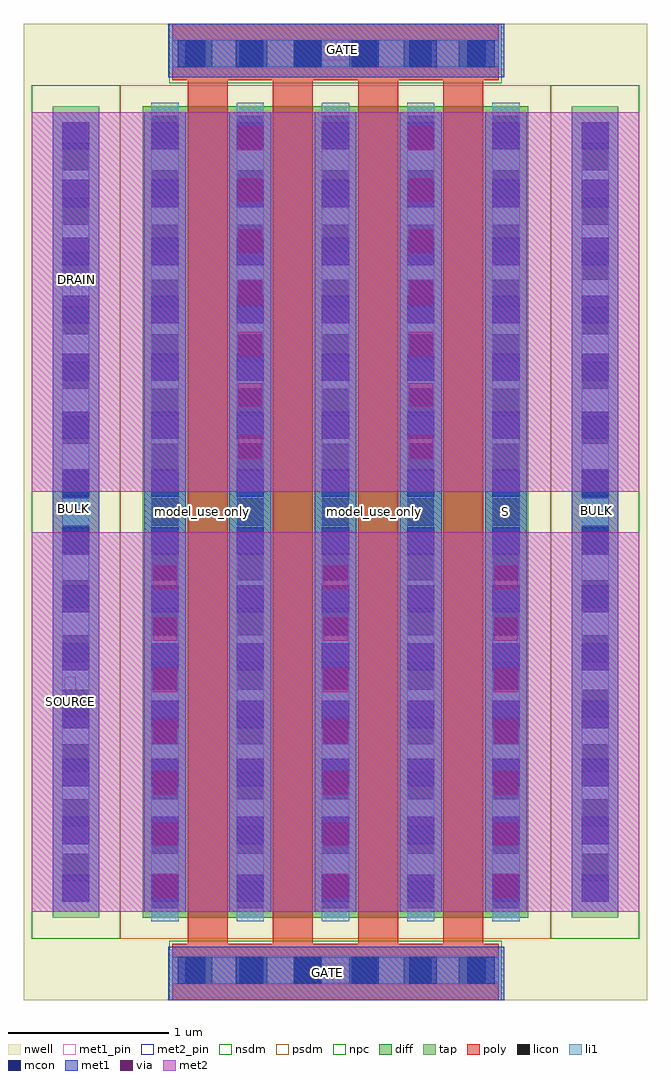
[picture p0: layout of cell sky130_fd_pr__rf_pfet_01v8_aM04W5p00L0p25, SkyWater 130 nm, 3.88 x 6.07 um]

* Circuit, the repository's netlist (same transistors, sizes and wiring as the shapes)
* Copyright 2020 The SkyWater PDK Authors
*
* Licensed under the Apache License, Version 2.0 (the "License");
* you may not use this file except in compliance with the License.
* You may obtain a copy of the License at
*
*     https://www.apache.org/licenses/LICENSE-2.0
*
* Unless required by applicable law or agreed to in writing, software
* distributed under the License is distributed on an "AS IS" BASIS,
* WITHOUT WARRANTIES OR CONDITIONS OF ANY KIND, either express or implied.
* See the License for the specific language governing permissions and
* limitations under the License.
*
* SPDX-License-Identifier: Apache-2.0


.subckt sky130_fd_pr__rf_pfet_01v8_aM04W5p00L0p25 BULK DRAIN GATE SOURCE
X0 SOURCE GATE DRAIN BULK sky130_fd_pr__pfet_01v8 w=5.05e+06u l=250000u
X1 SOURCE GATE DRAIN BULK sky130_fd_pr__pfet_01v8 w=5.05e+06u l=250000u
X2 DRAIN GATE SOURCE BULK sky130_fd_pr__pfet_01v8 w=5.05e+06u l=250000u
X3 DRAIN GATE SOURCE BULK sky130_fd_pr__pfet_01v8 w=5.05e+06u l=250000u
.ends

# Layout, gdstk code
import gdstk
lib = gdstk.Library(unit=1e-6, precision=1e-09)
def R(c, l, rs):  # rectangles x0, y0, x1, y1
    for r in rs: c.add(gdstk.rectangle(r[:2], r[2:], *l))
def A(c, l, x, y, w, h, nx, ny, dx, dy):  # array of equal rectangles
    R(c, l, [(x+i*dx, y+j*dy, x+i*dx+w, y+j*dy+h) for i in range(nx) for j in range(ny)])
nwell = (64, 20)
diff = (65, 20)
tap = (65, 44)
poly = (66, 20)
licon = (66, 44)
li1 = (67, 20)
mcon = (67, 44)
met1_pin = (68, 16)
met1 = (68, 20)
via = (68, 44)
met2_pin = (69, 16)
met2 = (69, 20)
nsdm = (93, 44)
psdm = (94, 20)
npc = (95, 20)

sky130_fd_pr__rf_pfet_01 = lib.new_cell('sky130_fd_pr__rf_pfet_01v8_aM04W5p00L0p25')
R(sky130_fd_pr__rf_pfet_01, nwell, [(0,0,3.88,6.07)])
R(sky130_fd_pr__rf_pfet_01, diff, [(0.74,0.51,3.14,5.56)])
R(sky130_fd_pr__rf_pfet_01, tap, [(0.18,0.51,0.47,5.56), (3.41,0.51,3.7,5.56)])
A(sky130_fd_pr__rf_pfet_01, poly, 1.02, 0.35, 0.25, 5.37, 4, 1, 0.53, 0)
R(sky130_fd_pr__rf_pfet_01, poly, [(0.925,0,2.955,0.35), (0.925,5.72,2.955,6.07)])
A(sky130_fd_pr__rf_pfet_01, licon, 1.005, 0.1, 0.17, 0.17, 6, 2, 0.34, 5.7)
A(sky130_fd_pr__rf_pfet_01, licon, 0.795, 0.57, 0.17, 0.17, 5, 15, 0.53, 0.34)
A(sky130_fd_pr__rf_pfet_01, licon, 0.24, 0.74, 0.17, 0.17, 1, 14, 0, 0.34)
A(sky130_fd_pr__rf_pfet_01, licon, 3.47, 0.74, 0.17, 0.17, 1, 14, 0, 0.34)
A(sky130_fd_pr__rf_pfet_01, li1, 0.795, 0.49, 0.17, 5.09, 5, 1, 0.53, 0)
A(sky130_fd_pr__rf_pfet_01, li1, 0.795, 1.69, 0.17, 2.69, 5, 1, 0.53, 0)
R(sky130_fd_pr__rf_pfet_01, li1, [(0.925,0.1,2.955,0.27), (0.96,0.1,2.93,0.27), (0.24,0.61,0.41,5.46), (3.47,0.61,3.64,5.46), (0.24,0.66,0.41,5.41), (3.47,0.66,3.64,5.41), (0.24,1.68,0.41,4.39), (3.47,1.68,3.64,4.39), (0.925,5.8,2.955,5.97), (0.96,5.8,2.93,5.97)])
A(sky130_fd_pr__rf_pfet_01, mcon, 0.96, 0.1, 0.17, 0.17, 6, 2, 0.36, 5.7)
A(sky130_fd_pr__rf_pfet_01, mcon, 0.24, 0.61, 0.17, 0.17, 1, 14, 0, 0.36)
A(sky130_fd_pr__rf_pfet_01, mcon, 0.795, 0.61, 0.17, 0.17, 5, 14, 0.53, 0.36)
A(sky130_fd_pr__rf_pfet_01, mcon, 3.47, 0.61, 0.17, 0.17, 1, 14, 0, 0.36)
R(sky130_fd_pr__rf_pfet_01, met1_pin, [(1.745,0.105,2.035,0.23), (3.48,3.015,3.65,3.07), (0.225,3.025,0.395,3.08), (1.84,5.845,2.13,5.97)])
A(sky130_fd_pr__rf_pfet_01, met1, 0.75, 0.55, 0.26, 2.24, 3, 1, 1.06, 0)
A(sky130_fd_pr__rf_pfet_01, met1, 0.75, 0.55, 0.26, 4.97, 5, 1, 0.53, 0)
R(sky130_fd_pr__rf_pfet_01, met1, [(0.9,0,2.99,0.33), (0.18,0.55,0.47,5.52), (3.41,0.55,3.7,5.52), (1.28,3.28,1.54,5.52), (2.34,3.28,2.6,5.52), (0.9,5.74,2.99,6.07)])
A(sky130_fd_pr__rf_pfet_01, via, 0.805, 0.635, 0.15, 0.15, 3, 7, 1.06, 0.32)
A(sky130_fd_pr__rf_pfet_01, via, 1.335, 3.365, 0.15, 0.15, 1, 7, 0, 0.32)
A(sky130_fd_pr__rf_pfet_01, via, 2.395, 3.365, 0.15, 0.15, 1, 7, 0, 0.32)
R(sky130_fd_pr__rf_pfet_01, met2_pin, [(0.255,1.695,0.325,2.01), (0.29,4.315,0.365,4.645)])
A(sky130_fd_pr__rf_pfet_01, met2, 0.75, 0.55, 0.26, 2.24, 3, 1, 1.06, 0)
R(sky130_fd_pr__rf_pfet_01, met2, [(0.05,0.55,3.83,2.91), (0.05,3.16,3.83,5.52), (1.28,3.28,1.54,5.52), (2.34,3.28,2.6,5.52)])
R(sky130_fd_pr__rf_pfet_01, nsdm, [(0.05,0.38,0.6,5.69), (3.28,0.38,3.83,5.69)])
R(sky130_fd_pr__rf_pfet_01, psdm, [(0.6,0.38,3.28,5.69)])
R(sky130_fd_pr__rf_pfet_01, npc, [(0.905,0,2.975,0.37), (0.905,5.7,2.975,6.07)])
sky130_fd_pr__rf_pfet_01.add(gdstk.Label('model_use_only', (2.18,3.035), layer=66, texttype=83))
sky130_fd_pr__rf_pfet_01.add(gdstk.Label('model_use_only', (2.7,3.035), layer=66, texttype=83))
sky130_fd_pr__rf_pfet_01.add(gdstk.Label('model_use_only', (1.115,3.035), layer=66, texttype=83))
sky130_fd_pr__rf_pfet_01.add(gdstk.Label('model_use_only', (1.64,3.035), layer=66, texttype=83))
sky130_fd_pr__rf_pfet_01.add(gdstk.Label('S', (0.88,3.035), layer=83, texttype=44))
sky130_fd_pr__rf_pfet_01.add(gdstk.Label('S', (0.88,3.035), layer=83, texttype=44))
sky130_fd_pr__rf_pfet_01.add(gdstk.Label('S', (1.41,3.035), layer=83, texttype=44))
sky130_fd_pr__rf_pfet_01.add(gdstk.Label('D', (1.41,3.035), layer=83, texttype=44))
sky130_fd_pr__rf_pfet_01.add(gdstk.Label('S', (1.94,3.035), layer=83, texttype=44))
sky130_fd_pr__rf_pfet_01.add(gdstk.Label('S', (1.94,3.035), layer=83, texttype=44))
sky130_fd_pr__rf_pfet_01.add(gdstk.Label('S', (2.47,3.035), layer=83, texttype=44))
sky130_fd_pr__rf_pfet_01.add(gdstk.Label('D', (2.47,3.035), layer=83, texttype=44))
sky130_fd_pr__rf_pfet_01.add(gdstk.Label('S', (3,3.035), layer=83, texttype=44))
sky130_fd_pr__rf_pfet_01.add(gdstk.Label('BULK', (3.565,3.045), layer=68, texttype=5))
sky130_fd_pr__rf_pfet_01.add(gdstk.Label('BULK', (0.31,3.055), layer=68, texttype=5))
sky130_fd_pr__rf_pfet_01.add(gdstk.Label('GATE', (1.985,5.91), layer=68, texttype=5))
sky130_fd_pr__rf_pfet_01.add(gdstk.Label('GATE', (1.89,0.17), layer=68, texttype=5))
sky130_fd_pr__rf_pfet_01.add(gdstk.Label('DRAIN', (0.33,4.48), layer=69, texttype=5))
sky130_fd_pr__rf_pfet_01.add(gdstk.Label('SOURCE', (0.29,1.855), layer=69, texttype=5))

lib.write_gds('sky130_fd_pr__rf_pfet_01v8_aM04W5p00L0p25.gds')
